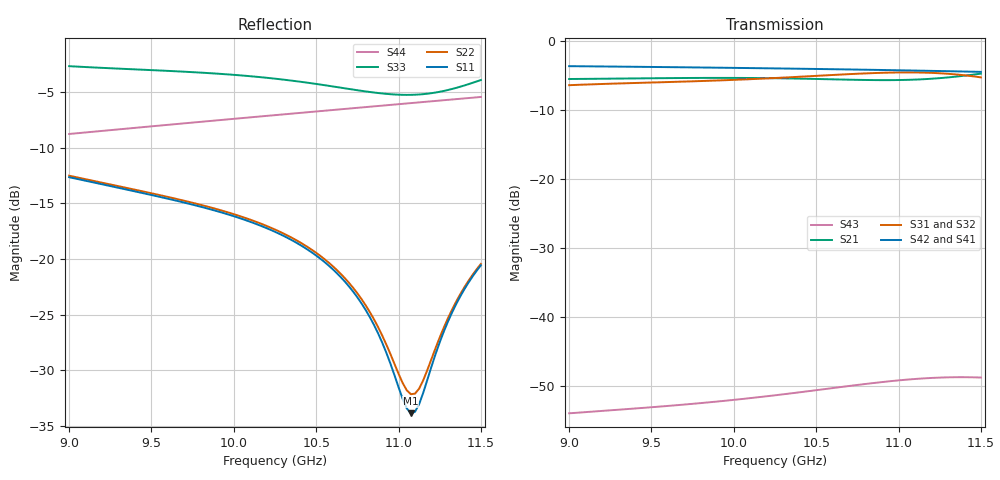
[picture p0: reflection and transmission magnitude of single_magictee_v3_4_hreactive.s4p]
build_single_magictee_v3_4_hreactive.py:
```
#!/usr/bin/env python3
"""
HFSS / PyAEDT single magic-tee v3.4 H-block builder.

Topology (from the H-plane tee mouth outward):

    tee
      -> mild reduced-width H-plane throat
      -> short symmetric reduced-height capacitive cell
      -> terminal double ridge
      -> existing two-section ridge taper
      -> straight WR90 H port

The E arm remains the v2 parity-corrected WR90 orientation. This builder is
intended for the first v3.4 structural/Jacobian study. It is not a final
high-power-qualified geometry.

Default mode is build-only. Add --solve to run the 9.0--11.5 GHz sweep and
export a 4-port Touchstone file.
"""

from __future__ import annotations

import argparse
import math
from pathlib import Path

A = 22.86
B = 10.16

RIDGE_W = 4.572
G1 = 7.672
L1 = 9.872
G2 = 5.800
L2 = 8.857

H_THROAT_A = 20.40
H_THROAT_LEN = 5.50
H_CAP_HEIGHT = 9.00
H_CAP_LEN = 2.50
H_TERMINAL_RIDGE_W = 4.572
TERMINAL_RIDGE_LEN = 7.50

PORT_STRAIGHT_LEN = 10.0
COLLINEAR_HALF_LEN = 35.0
E_ARM_LEN = 30.0
N_TAPER_SEGMENTS = 20

F_ADAPT_GHZ = 10.20
F_START_GHZ = 9.0
F_STOP_GHZ = 11.5
N_SWEEP = 101

TAPER_TOTAL = L1 + L2
H_ARM_ACTIVE_LEN = (
    PORT_STRAIGHT_LEN
    + TAPER_TOTAL
    + TERMINAL_RIDGE_LEN
    + H_CAP_LEN
    + H_THROAT_LEN
)


def smoothstep(t: float) -> float:
    return 3.0 * t * t - 2.0 * t * t * t


def log_interp(a: float, b: float, t: float) -> float:
    s = smoothstep(t)
    return math.exp((1.0 - s) * math.log(a) + s * math.log(b))


def taper_gap_from_port_distance(s_mm: float) -> float:
    if s_mm <= 0.0:
        return B
    if s_mm >= TAPER_TOTAL:
        return G2
    if s_mm <= L1:
        return log_interp(B, G1, s_mm / L1)
    return log_interp(G1, G2, (s_mm - L1) / L2)


def _import_hfss_class():
    try:
        from ansys.aedt.core import Hfss
        return Hfss, "ansys.aedt.core"
    except ImportError:
        from pyaedt import Hfss
        return Hfss, "pyaedt"


def _launch_hfss(project_path: str, version: str, non_graphical: bool):
    Hfss, api = _import_hfss_class()
    if api == "ansys.aedt.core":
        return Hfss(
            project=project_path,
            design="SingleMagicT_v3_4_HReactiveCell",
            version=version,
            solution_type="Modal",
            non_graphical=non_graphical,
            new_desktop=True,
            close_on_exit=True,
            student_version=True,
        )
    return Hfss(
        projectname=project_path,
        designname="SingleMagicT_v3_4_HReactiveCell",
        specified_version=version,
        solution_type="DrivenModal",
        non_graphical=non_graphical,
        new_desktop_session=True,
    )


def _box(hfss, origin, sizes, name, material="vacuum"):
    return hfss.modeler.create_box(origin, sizes, name=name, material=material)


def _validate_geometry():
    if not (0.0 < H_THROAT_A <= A):
        raise ValueError("h_throat_a must satisfy 0 < h_throat_a <= WR90 broad dimension")
    if not (0.0 < H_CAP_HEIGHT <= B):
        raise ValueError("h_cap_height must satisfy 0 < h_cap_height <= WR90 narrow dimension")
    if H_THROAT_LEN < 0.0 or H_CAP_LEN < 0.0 or TERMINAL_RIDGE_LEN < 0.0:
        raise ValueError("local section lengths must be non-negative")
    if not (0.0 < G2 <= B and 0.0 < G1 <= B):
        raise ValueError("ridge gaps must lie inside the WR90 narrow dimension")
    if H_TERMINAL_RIDGE_W <= 0.0 or H_TERMINAL_RIDGE_W > A:
        raise ValueError("terminal ridge width must satisfy 0 < width <= WR90 broad dimension")


def _make_air_volume(hfss):
    _box(
        hfss,
        [-COLLINEAR_HALF_LEN, -A / 2.0, -B / 2.0],
        [2.0 * COLLINEAR_HALF_LEN, A, B],
        "AirWG",
    )
    _box(
        hfss,
        [-A / 2.0, A / 2.0, -B / 2.0],
        [A, H_ARM_ACTIVE_LEN, B],
        "HArmAir",
    )
    _box(
        hfss,
        [-B / 2.0, -A / 2.0, B / 2.0],
        [B, A, E_ARM_LEN],
        "EArmAir",
    )
    hfss.modeler.unite(["AirWG", "HArmAir", "EArmAir"])
    return hfss.modeler["AirWG"]


def _subtract_h_width_throat(hfss):
    side_depth = 0.5 * (A - H_THROAT_A)
    y0 = A / 2.0
    if side_depth <= 1e-9 or H_THROAT_LEN <= 1e-9:
        return {
            "h_throat_start_y": y0,
            "h_throat_end_y": y0 + H_THROAT_LEN,
            "h_throat_side_depth": max(side_depth, 0.0),
        }

    left = _box(
        hfss,
        [-A / 2.0, y0, -B / 2.0],
        [side_depth, H_THROAT_LEN, B],
        "HThroatWall_Left",
        material="pec",
    )
    right = _box(
        hfss,
        [H_THROAT_A / 2.0, y0, -B / 2.0],
        [side_depth, H_THROAT_LEN, B],
        "HThroatWall_Right",
        material="pec",
    )
    hfss.modeler.subtract("AirWG", [left.name, right.name], keep_originals=False)

    return {
        "h_throat_start_y": y0,
        "h_throat_end_y": y0 + H_THROAT_LEN,
        "h_throat_side_depth": side_depth,
    }


def _subtract_h_capacitive_cell(hfss, throat_geom):
    depth = 0.5 * (B - H_CAP_HEIGHT)
    y0 = throat_geom["h_throat_end_y"]

    if depth <= 1e-9 or H_CAP_LEN <= 1e-9:
        return {
            "h_cap_start_y": y0,
            "h_cap_end_y": y0 + H_CAP_LEN,
            "h_cap_wall_depth": max(depth, 0.0),
        }

    top = _box(
        hfss,
        [-A / 2.0, y0, H_CAP_HEIGHT / 2.0],
        [A, H_CAP_LEN, depth],
        "HCapCell_Top",
        material="pec",
    )
    bot = _box(
        hfss,
        [-A / 2.0, y0, -B / 2.0],
        [A, H_CAP_LEN, depth],
        "HCapCell_Bottom",
        material="pec",
    )
    hfss.modeler.subtract("AirWG", [top.name, bot.name], keep_originals=False)

    return {
        "h_cap_start_y": y0,
        "h_cap_end_y": y0 + H_CAP_LEN,
        "h_cap_wall_depth": depth,
    }


def _subtract_double_ridge_taper(hfss, cap_geom):
    h_port_y = A / 2.0 + H_ARM_ACTIVE_LEN
    tools = []
    ds = TAPER_TOTAL / float(N_TAPER_SEGMENTS)

    for i in range(N_TAPER_SEGMENTS):
        s0 = i * ds
        s1 = (i + 1) * ds
        gap = taper_gap_from_port_distance(0.5 * (s0 + s1))
        depth = max(0.0, 0.5 * (B - gap))
        if depth <= 1e-6:
            continue

        y0 = h_port_y - PORT_STRAIGHT_LEN - s1
        dy = s1 - s0
        top = _box(
            hfss,
            [-RIDGE_W / 2.0, y0, gap / 2.0],
            [RIDGE_W, dy, depth],
            "RidgeTop_%02d" % i,
            material="pec",
        )
        bot = _box(
            hfss,
            [-RIDGE_W / 2.0, y0, -B / 2.0],
            [RIDGE_W, dy, depth],
            "RidgeBot_%02d" % i,
            material="pec",
        )
        tools.extend([top.name, bot.name])

    gap = G2
    depth = 0.5 * (B - gap)
    y0 = cap_geom["h_cap_end_y"]

    top = _box(
        hfss,
        [-H_TERMINAL_RIDGE_W / 2.0, y0, gap / 2.0],
        [H_TERMINAL_RIDGE_W, TERMINAL_RIDGE_LEN, depth],
        "RidgeTop_terminal",
        material="pec",
    )
    bot = _box(
        hfss,
        [-H_TERMINAL_RIDGE_W / 2.0, y0, -B / 2.0],
        [H_TERMINAL_RIDGE_W, TERMINAL_RIDGE_LEN, depth],
        "RidgeBot_terminal",
        material="pec",
    )
    tools.extend([top.name, bot.name])
    hfss.modeler.subtract("AirWG", tools, keep_originals=False)

    taper_near_tee_y = h_port_y - PORT_STRAIGHT_LEN - TAPER_TOTAL
    terminal_end_y = y0 + TERMINAL_RIDGE_LEN

    if abs(terminal_end_y - taper_near_tee_y) > 1e-6:
        raise RuntimeError(
            "H-arm layout discontinuity: terminal ridge ends at %.6f mm, "
            "taper starts at %.6f mm" % (terminal_end_y, taper_near_tee_y)
        )

    return {
        "h_port_y": h_port_y,
        "terminal_start_y": y0,
        "terminal_end_y": terminal_end_y,
        "taper_near_tee_y": taper_near_tee_y,
    }


def _port_face(hfss, position):
    face_id = hfss.modeler.get_faceid_from_position(position, assignment="AirWG")
    if face_id is None or face_id < 0:
        raise RuntimeError("Could not find port face at %r" % (position,))
    return face_id


def _assign_ports_and_walls(hfss, geom):
    h_port_y = geom["h_port_y"]
    e_port_z = B / 2.0 + E_ARM_LEN

    f1 = _port_face(hfss, [-COLLINEAR_HALF_LEN, 0.0, 0.0])
    f2 = _port_face(hfss, [COLLINEAR_HALF_LEN, 0.0, 0.0])
    f3 = _port_face(hfss, [0.0, h_port_y, 0.0])
    f4 = _port_face(hfss, [0.0, 0.0, e_port_z])
    port_faces = {f1, f2, f3, f4}

    zline_1 = [
        [-COLLINEAR_HALF_LEN, 0.0, -B / 2.0],
        [-COLLINEAR_HALF_LEN, 0.0, B / 2.0],
    ]
    zline_2 = [
        [COLLINEAR_HALF_LEN, 0.0, -B / 2.0],
        [COLLINEAR_HALF_LEN, 0.0, B / 2.0],
    ]
    zline_3 = [
        [0.0, h_port_y, -B / 2.0],
        [0.0, h_port_y, B / 2.0],
    ]
    xline_4 = [
        [-B / 2.0, 0.0, e_port_z],
        [B / 2.0, 0.0, e_port_z],
    ]

    hfss.wave_port(
        f1,
        integration_line=zline_1,
        modes=1,
        name="P1_CollinearMinusX",
        renormalize=False,
        characteristic_impedance="Zwave",
    )
    hfss.wave_port(
        f2,
        integration_line=zline_2,
        modes=1,
        name="P2_CollinearPlusX",
        renormalize=False,
        characteristic_impedance="Zwave",
    )
    hfss.wave_port(
        f3,
        integration_line=zline_3,
        modes=1,
        name="P3_HArm_Ridged",
        renormalize=False,
        characteristic_impedance="Zwave",
    )
    hfss.wave_port(
        f4,
        integration_line=xline_4,
        modes=1,
        name="P4_EArm",
        renormalize=False,
        characteristic_impedance="Zwave",
    )

    air = hfss.modeler["AirWG"]
    wall_faces = [face.id for face in air.faces if face.id not in port_faces]
    hfss.assign_perfect_e(wall_faces, name="PEC_WaveguideWalls")


def _create_setup(hfss):
    setup = hfss.create_setup("Setup1")
    setup.props["Frequency"] = "%gGHz" % F_ADAPT_GHZ
    setup.props["MaximumPasses"] = 8
    setup.props["MinimumPasses"] = 2
    setup.props["MinimumConvergedPasses"] = 1
    setup.props["MaxDeltaS"] = 0.02
    setup.update()

    try:
        sweep = hfss.create_linear_count_sweep(
            setup=setup.name,
            unit="GHz",
            start_frequency=F_START_GHZ,
            stop_frequency=F_STOP_GHZ,
            num_of_freq_points=N_SWEEP,
            name="Sweep_9_11p5GHz",
            sweep_type="Interpolating",
            interpolation_tol=0.5,
            save_fields=False,
        )
    except Exception:
        sweep = setup.add_sweep("Sweep_9_11p5GHz", "Interpolating")
        sweep.props["RangeType"] = "LinearCount"
        sweep.props["RangeStart"] = "%gGHz" % F_START_GHZ
        sweep.props["RangeEnd"] = "%gGHz" % F_STOP_GHZ
        sweep.props["RangeCount"] = N_SWEEP
        sweep.props["SaveFields"] = False
        sweep.update()

    return setup, sweep


def _define_design_variables(hfss):
    vals = {
        "wg_a": "%gmm" % A,
        "wg_b": "%gmm" % B,
        "ridge_w": "%gmm" % RIDGE_W,
        "ridge_g1": "%gmm" % G1,
        "ridge_l1": "%gmm" % L1,
        "ridge_g2": "%gmm" % G2,
        "ridge_l2": "%gmm" % L2,
        "terminal_ridge_len": "%gmm" % TERMINAL_RIDGE_LEN,
        "h_throat_a": "%gmm" % H_THROAT_A,
        "h_throat_len": "%gmm" % H_THROAT_LEN,
        "h_cap_height": "%gmm" % H_CAP_HEIGHT,
        "h_cap_len": "%gmm" % H_CAP_LEN,
        "h_terminal_ridge_w": "%gmm" % H_TERMINAL_RIDGE_W,
        "f_adapt": "%gGHz" % F_ADAPT_GHZ,
    }
    for key, value in vals.items():
        try:
            hfss[key] = value
        except Exception:
            pass


def _apply_args(args):
    global RIDGE_W, G1, L1, G2, L2
    global TERMINAL_RIDGE_LEN, H_THROAT_A, H_THROAT_LEN
    global H_CAP_HEIGHT, H_CAP_LEN, H_TERMINAL_RIDGE_W
    global TAPER_TOTAL, H_ARM_ACTIVE_LEN

    RIDGE_W = args.ridge_w
    G1 = args.g1
    L1 = args.l1
    G2 = args.g2
    L2 = args.l2
    TERMINAL_RIDGE_LEN = args.terminal_ridge_len
    H_THROAT_A = args.h_throat_a
    H_THROAT_LEN = args.h_throat_len
    H_CAP_HEIGHT = args.h_cap_height
    H_CAP_LEN = args.h_cap_len
    H_TERMINAL_RIDGE_W = args.h_terminal_ridge_w

    TAPER_TOTAL = L1 + L2
    H_ARM_ACTIVE_LEN = (
        PORT_STRAIGHT_LEN
        + TAPER_TOTAL
        + TERMINAL_RIDGE_LEN
        + H_CAP_LEN
        + H_THROAT_LEN
    )
    _validate_geometry()


def build(args):
    _apply_args(args)

    outdir = Path(args.output).resolve()
    outdir.mkdir(parents=True, exist_ok=True)
    project_path = outdir / "single_magictee_v3_4_hreactive.aedt"

    hfss = _launch_hfss(str(project_path), args.version, args.non_graphical)
    hfss.modeler.model_units = "mm"

    _define_design_variables(hfss)
    _make_air_volume(hfss)

    throat = _subtract_h_width_throat(hfss)
    cap = _subtract_h_capacitive_cell(hfss, throat)
    geom = _subtract_double_ridge_taper(hfss, cap)
    geom.update(throat)
    geom.update(cap)

    _assign_ports_and_walls(hfss, geom)
    setup, _ = _create_setup(hfss)

    hfss.modeler.fit_all()
    hfss.save_project(str(project_path))

    print("Built:", project_path)
    print("Design: SingleMagicT_v3_4_HReactiveCell")
    print("Sweep: %.2f--%.2f GHz, %d points" % (F_START_GHZ, F_STOP_GHZ, N_SWEEP))
    print("H topology:")
    print("  throat a/L = %.3f / %.3f mm" % (H_THROAT_A, H_THROAT_LEN))
    print("  capacitive cell b/L = %.3f / %.3f mm" % (H_CAP_HEIGHT, H_CAP_LEN))
    print(
        "  terminal ridge w/g/L = %.3f / %.3f / %.3f mm"
        % (H_TERMINAL_RIDGE_W, G2, TERMINAL_RIDGE_LEN)
    )
    print("  upstream taper w = %.3f mm" % RIDGE_W)
    print("  upstream taper g1/L1 = %.3f / %.3f mm" % (G1, L1))
    print("  upstream taper g2/L2 = %.3f / %.3f mm" % (G2, L2))
    print("E arm: v2 parity-corrected orientation retained")

    if args.solve:
        print("Solving HFSS...")
        hfss.analyze_setup(setup.name)
        touchstone = outdir / "single_magictee_v3_4_hreactive.s4p"
        try:
            result = hfss.export_touchstone(
                setup=setup.name,
                sweep="Sweep_9_11p5GHz",
                output_file=str(touchstone),
            )
            print("Touchstone:", result)
        except Exception as exc:
            print("Touchstone export failed:", exc)
        hfss.save_project(str(project_path))
    else:
        print("Build-only mode. Inspect geometry before using --solve.")

    try:
        hfss.release_desktop()
    except Exception as exc:
        print("AEDT release warning:", exc)

    return hfss


def parse_args():
    p = argparse.ArgumentParser()
    p.add_argument("--version", default="2022.2")
    p.add_argument(
        "--output",
        default=str(Path(__file__).resolve().parent / "output_v3_4_hreactive"),
    )
    p.add_argument("--solve", action="store_true")
    p.add_argument("--non-graphical", action="store_true")

    p.add_argument("--ridge-w", type=float, default=RIDGE_W)
    p.add_argument("--g1", type=float, default=G1)
    p.add_argument("--l1", type=float, default=L1)
    p.add_argument("--g2", type=float, default=G2)
    p.add_argument("--l2", type=float, default=L2)

    p.add_argument("--terminal-ridge-len", type=float, default=TERMINAL_RIDGE_LEN)
    p.add_argument("--h-throat-a", type=float, default=H_THROAT_A)
    p.add_argument("--h-throat-len", type=float, default=H_THROAT_LEN)
    p.add_argument("--h-cap-height", type=float, default=H_CAP_HEIGHT)
    p.add_argument("--h-cap-len", type=float, default=H_CAP_LEN)
    p.add_argument("--h-terminal-ridge-w", type=float, default=H_TERMINAL_RIDGE_W)
    return p.parse_args()


if __name__ == "__main__":
    build(parse_args())
```
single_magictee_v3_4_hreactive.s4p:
! Touchstone file exported from HFSS 2025.2.4
!  File:  C:/Users/chaoy/Documents/single_magictee_v3_4_hreactive_latest/single_magictee_v3_4_hreactive.aedt
!  Generated:  02:33:53 PM Sep 22, 2026
!  Design:  SingleMagicT_v3_4_HReactiveCell
!  Project:  single_magictee_v3_4_hreactive
! Variables:
!  f_adapt = 10.2GHz
!  h_cap_height = 9mm
!  h_cap_len = 2.5mm
!  h_terminal_ridge_w = 4.572mm
!  h_throat_a = 20.4mm
!  h_throat_len = 5.5mm
!  ridge_g1 = 7.672mm
!  ridge_g2 = 5.8mm
!  ridge_l1 = 9.872mm
!  ridge_l2 = 8.857mm
!  ridge_w = 4.572mm
!  terminal_ridge_len = 7.5mm
!  wg_a = 22.86mm
!  wg_b = 10.16mm
!Data is not renormalized
# GHz S MA
! Terminal data exported
! Port[1] = P1_CollinearMinusX
! Port[2] = P2_CollinearPlusX
! Port[3] = P3_HArm_Ridged
! Port[4] = P4_EArm
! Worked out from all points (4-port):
!   101 points, 9 GHz to 11.5 GHz, reference per port
!   strongest paths, dB at 9 GHz, 9.625 GHz, 10.25 GHz, 10.88 GHz, 11.5 GHz:
!     S42: -3.6, -3.8, -4.0, -4.2, -4.5
!     S41: -3.6, -3.8, -4.0, -4.2, -4.5
!     S31: -6.4, -5.9, -5.4, -4.6, -5.3
!     S32: -6.4, -5.9, -5.4, -4.6, -5.3
!     S21: -5.5, -5.4, -5.4, -5.7, -4.7
!     S43: -54.0, -52.8, -51.4, -49.5, -48.8
!   lowest |S11| = -33.9 dB at 11.07 GHz (marker M1), VSWR 1.04
!   |S11| at or under -10 dB: start of sweep to end of sweep
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9  0.2333 150.2  0.5311 -174.7  0.4791 61.5  0.6588 46.0
   0.5311 -174.7  0.2369 150.1  0.4784 61.2  0.658 -134.3
   0.4791 61.5  0.4784 61.2  0.7359 128.0  0.002004 -72.0
   0.6588 46.0  0.658 -134.3  0.002004 -72.0  0.3648 -115.4
11.075  0.02026 -20.8  0.5246 -24.8  0.5927 132.3  0.6108 -177.6
        0.5246 -24.8  0.02469 -22.1  0.5911 131.9  0.6122 2.0
        0.5927 132.3  0.5911 131.9  0.547 108.9  0.003535 -21.1
        0.6108 -177.6  0.6122 2.0  0.003535 -21.1  0.5022 29.4
11.5  0.09373 -2.3  0.5811 -60.5  0.5456 63.9  0.5965 139.0
      0.5811 -60.5  0.09506 -5.2  0.5437 63.5  0.5982 -41.5
      0.5456 63.9  0.5437 63.5  0.6377 0.8  0.00364 -91.1
      0.5965 139.0  0.5982 -41.5  0.00364 -91.1  0.5351 -13.6
